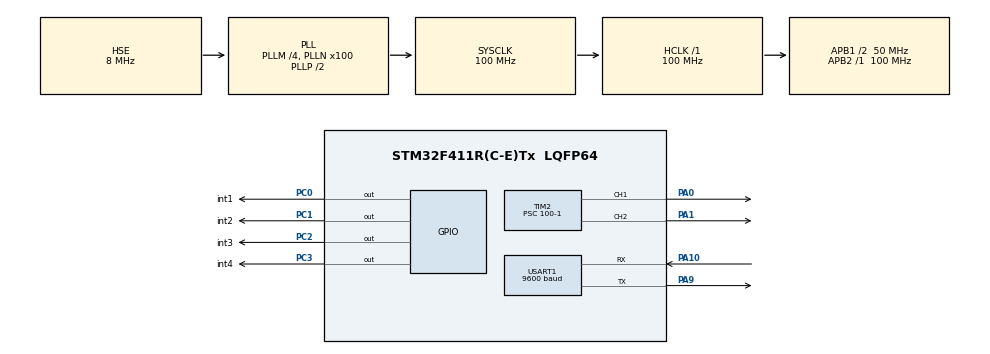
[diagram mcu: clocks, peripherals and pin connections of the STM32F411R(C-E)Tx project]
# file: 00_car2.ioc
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Mcu.Family=STM32F4
Mcu.Name=STM32F411R(C-E)Tx
Mcu.Package=LQFP64
NVIC.PriorityGroup=NVIC_PRIORITYGROUP_0
NVIC.RCC_IRQn=true\:0\:0\:false\:false\:true\:true\:false\:true
NVIC.TIM2_IRQn=true\:0\:0\:false\:false\:true\:true\:true\:true
NVIC.USART1_IRQn=true\:0\:0\:false\:false\:true\:true\:true\:true
PA0-WKUP.GPIO_Speed=GPIO_SPEED_FREQ_LOW
PA0-WKUP.Signal=S_TIM2_CH1_ETR
PA1.Signal=S_TIM2_CH2
PA10.Mode=Asynchronous
PA10.Signal=USART1_RX
PA13.GPIO_Label=TMS
PA13.Mode=Serial_Wire
PA13.Signal=SYS_JTMS-SWDIO
PA14.GPIO_Label=TCK
PA14.Mode=Serial_Wire
PA14.Signal=SYS_JTCK-SWCLK
PA9.Mode=Asynchronous
PA9.Signal=USART1_TX
PC0.GPIO_Label=int1
PC0.GPIO_Speed=GPIO_SPEED_FREQ_LOW
PC0.PinState=GPIO_PIN_RESET
PC0.Signal=GPIO_Output
PC1.GPIO_Label=int2
PC1.GPIO_Speed=GPIO_SPEED_FREQ_LOW
PC1.PinState=GPIO_PIN_RESET
PC1.Signal=GPIO_Output
PC2.GPIO_Label=int3
PC2.GPIO_Speed=GPIO_SPEED_FREQ_LOW
PC2.PinState=GPIO_PIN_RESET
PC2.Signal=GPIO_Output
PC3.GPIO_Label=int4
PC3.GPIO_Speed=GPIO_SPEED_FREQ_LOW
PC3.PinState=GPIO_PIN_RESET
PC3.Signal=GPIO_Output
PH0\ -\ OSC_IN.Mode=HSE-External-Oscillator
PH0\ -\ OSC_IN.Signal=RCC_OSC_IN
PH1\ -\ OSC_OUT.Mode=HSE-External-Oscillator
PH1\ -\ OSC_OUT.Signal=RCC_OSC_OUT
ProjectManager.HeapSize=0x200
ProjectManager.StackSize=0x400
ProjectManager.TargetToolchain=STM32CubeIDE
RCC.48MHZClocksFreq_Value=50000000
RCC.AHBFreq_Value=100000000
RCC.APB1CLKDivider=RCC_HCLK_DIV2
RCC.APB1Freq_Value=50000000
RCC.APB1TimFreq_Value=100000000
RCC.APB2Freq_Value=100000000
RCC.APB2TimFreq_Value=100000000
RCC.CortexFreq_Value=100000000
RCC.FLatency-AdvancedSettings=FLASH_LATENCY_3
RCC.HCLKFreq_Value=100000000
RCC.HSE_VALUE=8000000
RCC.HSI_VALUE=16000000
RCC.LSE_VALUE=32768
RCC.PLLM=4
RCC.PLLN=100
RCC.PLLSourceVirtual=RCC_PLLSOURCE_HSE
RCC.SYSCLKFreq_VALUE=100000000
RCC.SYSCLKSource=RCC_SYSCLKSOURCE_PLLCLK
RCC.VCOOutputFreq_Value=200000000
SH.S_TIM2_CH1_ETR.0=TIM2_CH1,PWM Generation1 CH1
SH.S_TIM2_CH2.0=TIM2_CH2,PWM Generation2 CH2
TIM2.Channel-PWM\ Generation1\ CH1=TIM_CHANNEL_1
TIM2.Channel-PWM\ Generation2\ CH2=TIM_CHANNEL_2
TIM2.Period=10000-1
TIM2.Prescaler=100-1
TIM2.Pulse-PWM\ Generation1\ CH1=0
USART1.BaudRate=9600
USART1.VirtualMode=VM_ASYNC
VP_TIM2_VS_ClockSourceINT.Mode=Internal
board=NUCLEO-F411RE

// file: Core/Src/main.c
/* USER CODE BEGIN Header */
/**
  ******************************************************************************
  * @file           : main.c
  * @brief          : Main program body
  ******************************************************************************
  * @attention
  *
  * Copyright (c) 2025 STMicroelectronics.
  * All rights reserved.
  *
  * This software is licensed under terms that can be found in the LICENSE file
  * in the root directory of this software component.
  * If no LICENSE file comes with this software, it is provided AS-IS.
  *
  ******************************************************************************
  */
/* USER CODE END Header */
#include "main.h"
#include "tim.h"
#include "usart.h"
#include "gpio.h"

/* USER CODE BEGIN Includes */
#include <stdio.h>
#include "main.h"
#include "usart.h"
#include "gpio.h"
#include "string.h"
#include "motor.h"
/* USER CODE END Includes */

/* USER CODE BEGIN PV */
uint8_t rxData;

/* USER CODE END PV */

void SystemClock_Config(void);
/* USER CODE BEGIN PFP */
void HAL_UART_RxCpltCallback(UART_HandleTypeDef *huart)
{
    if (huart->Instance == USART1) // USART1인지 확인
    {
        switch (rxData)
        {
        case 'a': // 전진
            motor_forward();  // 모터 전진 함수 호출
            HAL_UART_Transmit(huart, (uint8_t*)"forward\r\n", strlen("forward\r\n"), HAL_MAX_DELAY);
            break;

        case 'b': // 후진
            motor_backward();  // 모터 후진 함수 호출
            HAL_UART_Transmit(huart, (uint8_t*)"backward\r\n", strlen("backward\r\n"), HAL_MAX_DELAY);
            break;

        case 'r': // 우회전
            motor_turn_right();  // 우회전 함수 호출
            HAL_UART_Transmit(huart, (uint8_t*)"turn_right\r\n", strlen("turn_right\r\n"), HAL_MAX_DELAY);
            break;

        case 'l': // 좌회전
            motor_turn_left();  // 좌회전 함수 호출
            HAL_UART_Transmit(huart, (uint8_t*)"turn_left\r\n", strlen("turn_left\r\n"), HAL_MAX_DELAY);
            break;

        case 'c': // 정지
            motor_stop();  // 정지 함수 호출
            HAL_UART_Transmit(huart, (uint8_t*)"stop\r\n", strlen("stop\r\n"), HAL_MAX_DELAY);
            break;

        case 'd': // 전원 차단
            motor_power_off();  // 전원 차단 함수 호출
            HAL_UART_Transmit(huart, (uint8_t*)"power_off\r\n", strlen("power_off\r\n"), HAL_MAX_DELAY);
            break;

        default:
            HAL_UART_Transmit(huart, (uint8_t*)"error\r\n", strlen("error\r\n"), HAL_MAX_DELAY);
            return;
        }
//void HAL_UART_RxCpltCallback(UART_HandleTypeDef *huart)
//{
//    if (huart->Instance == USART1) // USART2인지 확인
//    {
//      HAL_UART_Receive_IT(&huart1, &rxData, sizeof(rxData));
//
//        switch (rxData)
//        {
//        case 'a': // 전진
//            HAL_GPIO_WritePin(GPIOC, GPIO_PIN_0, GPIO_PIN_SET);
//            HAL_GPIO_WritePin(GPIOC, GPIO_PIN_1, GPIO_PIN_RESET);
//            HAL_GPIO_WritePin(GPIOC, GPIO_PIN_2, GPIO_PIN_SET);
//            HAL_GPIO_WritePin(GPIOC, GPIO_PIN_3, GPIO_PIN_RESET);
//            htim2.Instance->CCR1 = 300;  // 오른쪽 바퀴 속도 (느리게)
//            htim4.Instance->CCR2 = 300;
//            HAL_UART_Transmit(&huart1, (uint8_t*)"forward\r\n", strlen("forward\r\n"), 0xFFFF);
//
//            break;
//
//        case 'b': // 후진
//            HAL_GPIO_WritePin(GPIOC, GPIO_PIN_0, GPIO_PIN_RESET);
//            HAL_GPIO_WritePin(GPIOC, GPIO_PIN_1, GPIO_PIN_SET);
//            HAL_GPIO_WritePin(GPIOC, GPIO_PIN_2, GPIO_PIN_RESET);
//            HAL_GPIO_WritePin(GPIOC, GPIO_PIN_3, GPIO_PIN_SET);
//            htim2.Instance->CCR1 = 300;  // 오른쪽 바퀴 속도 (느리게)
//            htim4.Instance->CCR2 = 300;
//            HAL_UART_Transmit(&huart1, (uint8_t*)"backward\r\n", strlen("backward\r\n"), 0xFFFF);
//
//            break;
//
//        case 'r': // 우회전
//                    HAL_GPIO_WritePin(GPIOC, GPIO_PIN_0, GPIO_PIN_SET);   // 오른쪽 바퀴 후진
//                    HAL_GPIO_WritePin(GPIOC, GPIO_PIN_1, GPIO_PIN_RESET);
//                    HAL_GPIO_WritePin(GPIOC, GPIO_PIN_2, GPIO_PIN_SET);   // 왼쪽 바퀴 전진
//                    HAL_GPIO_WritePin(GPIOC, GPIO_PIN_3, GPIO_PIN_RESET);
//                    htim2.Instance->CCR1 = 300;  // 오른쪽 바퀴 속도 (느리게)
//                    htim4.Instance->CCR2 = 700;  // 왼쪽 바퀴 속도 (빠르게)
//                    HAL_UART_Transmit(&huart1, (uint8_t*)"turn_right\r\n", strlen("turn_right\r\n"), 0xFFFF);
//                    break;
//
//        case 'l': // 좌회전
//            HAL_GPIO_WritePin(GPIOC, GPIO_PIN_0, GPIO_PIN_SET);   // 오른쪽 바퀴 전진
//            HAL_GPIO_WritePin(GPIOC, GPIO_PIN_1, GPIO_PIN_RESET);
//            HAL_GPIO_WritePin(GPIOC, GPIO_PIN_2, GPIO_PIN_RESET); // 왼쪽 바퀴 후진
//            HAL_GPIO_WritePin(GPIOC, GPIO_PIN_3, GPIO_PIN_SET);
//            htim2.Instance->CCR1 = 700;  // 오른쪽 바퀴 속도 (빠르게)
//            htim4.Instance->CCR2 = 300;  // 왼쪽 바퀴 속도 (느리게)
//            HAL_UART_Transmit(&huart1, (uint8_t*)"turn_left\r\n", strlen("turn_left\r\n"), 0xFFFF);
//            break;
//
//        case 'c': // 정지
//            HAL_GPIO_WritePin(GPIOC, GPIO_PIN_0, GPIO_PIN_SET);
//            HAL_GPIO_WritePin(GPIOC, GPIO_PIN_1, GPIO_PIN_SET);
//            HAL_GPIO_WritePin(GPIOC, GPIO_PIN_2, GPIO_PIN_SET);
//            HAL_GPIO_WritePin(GPIOC, GPIO_PIN_3, GPIO_PIN_SET);
//            HAL_UART_Transmit(&huart1, (uint8_t*)"stop\r\n", strlen("stop\r\n"), 0xFFFF);
//
//            break;
//
//        case 'd': // 전원 차단
//            HAL_GPIO_WritePin(GPIOC, GPIO_PIN_0, GPIO_PIN_RESET);
//            HAL_GPIO_WritePin(GPIOC, GPIO_PIN_1, GPIO_PIN_RESET);
//            HAL_GPIO_WritePin(GPIOC, GPIO_PIN_2, GPIO_PIN_RESET);
//            HAL_GPIO_WritePin(GPIOC, GPIO_PIN_3, GPIO_PIN_RESET);
//            HAL_UART_Transmit(&huart1, (uint8_t*)"power_off\r\n", strlen("power_off\r\n"), 0xFFFF);
//
//            break;
//
//        default:
//          HAL_UART_Transmit(&huart1, (uint8_t*)"error\r\n", strlen("error\r\n"), 0xFFFF);
//            return;
//        }

        // 다음 데이터를 계속 수신하기 위해 인터럽트 재설정
        HAL_UART_Receive_IT(&huart1, &rxData, sizeof(rxData));

    }
}
/* USER CODE END PFP */

int main(void)
{

  /* MCU Configuration--------------------------------------------------------*/

  /* Reset of all peripherals, Initializes the Flash interface and the Systick. */
  HAL_Init();

  /* Configure the system clock */
  SystemClock_Config();

  /* Initialize all configured peripherals */
  MX_GPIO_Init();
  MX_USART1_UART_Init();
  MX_TIM2_Init();
  /* USER CODE BEGIN 2 */
  HAL_UART_Receive_IT(&huart1, &rxData, sizeof(rxData));

  /* USER CODE END 2 */

  /* Infinite loop */
  while (1)
  {

  }
}

void SystemClock_Config(void)
{
  RCC_OscInitTypeDef RCC_OscInitStruct = {0};
  RCC_ClkInitTypeDef RCC_ClkInitStruct = {0};

  /** Configure the main internal regulator output voltage
  */
  __HAL_RCC_PWR_CLK_ENABLE();
  __HAL_PWR_VOLTAGESCALING_CONFIG(PWR_REGULATOR_VOLTAGE_SCALE1);

  /** Initializes the RCC Oscillators according to the specified parameters
  * in the RCC_OscInitTypeDef structure.
  */
  RCC_OscInitStruct.OscillatorType = RCC_OSCILLATORTYPE_HSE;
  RCC_OscInitStruct.HSEState = RCC_HSE_ON;
  RCC_OscInitStruct.PLL.PLLState = RCC_PLL_ON;
  RCC_OscInitStruct.PLL.PLLSource = RCC_PLLSOURCE_HSE;
  RCC_OscInitStruct.PLL.PLLM = 4;
  RCC_OscInitStruct.PLL.PLLN = 100;
  RCC_OscInitStruct.PLL.PLLP = RCC_PLLP_DIV2;
  RCC_OscInitStruct.PLL.PLLQ = 4;
  if (HAL_RCC_OscConfig(&RCC_OscInitStruct) != HAL_OK)
  {
    Error_Handler();
  }

  /** Initializes the CPU, AHB and APB buses clocks
  */
  RCC_ClkInitStruct.ClockType = RCC_CLOCKTYPE_HCLK|RCC_CLOCKTYPE_SYSCLK
                              |RCC_CLOCKTYPE_PCLK1|RCC_CLOCKTYPE_PCLK2;
  RCC_ClkInitStruct.SYSCLKSource = RCC_SYSCLKSOURCE_PLLCLK;
  RCC_ClkInitStruct.AHBCLKDivider = RCC_SYSCLK_DIV1;
  RCC_ClkInitStruct.APB1CLKDivider = RCC_HCLK_DIV2;
  RCC_ClkInitStruct.APB2CLKDivider = RCC_HCLK_DIV1;

  if (HAL_RCC_ClockConfig(&RCC_ClkInitStruct, FLASH_LATENCY_3) != HAL_OK)
  {
    Error_Handler();
  }
}

void Error_Handler(void)
{
  __disable_irq();
  while (1)
  {
  }
}
